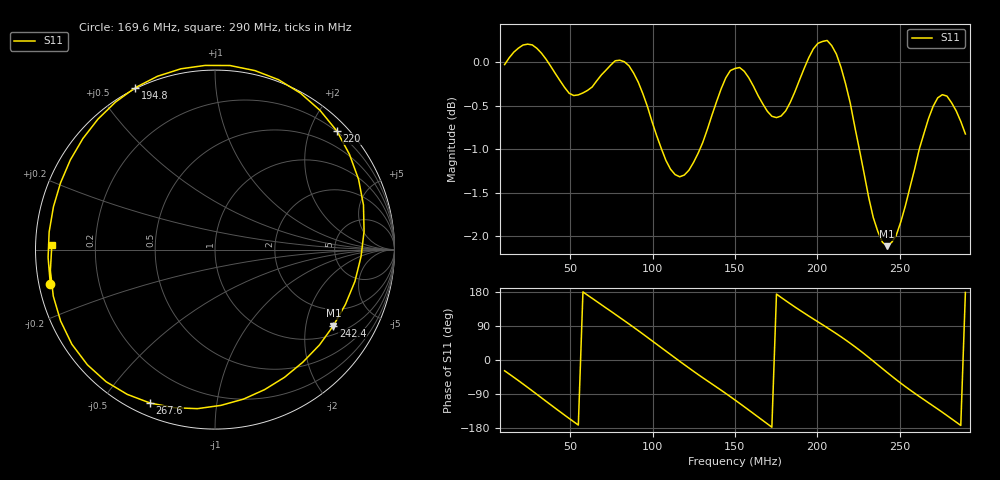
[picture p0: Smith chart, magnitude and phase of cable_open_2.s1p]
! File created by NanoVNA (https://gen111.taobao.com/)
! Start 10000000Hz  Stop 290000000Hz  Points 101
# HZ S MA R 50
!S - Parameter data, F S11
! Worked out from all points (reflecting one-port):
!   101 points, 10 MHz to 290 MHz, reference 50 ohm
!   lowest |S11| = -2.1 dB at 242.4 MHz (marker M1), VSWR 8.26, Z = 65.4 - j144 ohm
!   phase of S11 starts at -28 deg and turns -873 deg over the sweep
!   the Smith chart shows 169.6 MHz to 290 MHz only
!   S11 on the Smith chart (normalised r, x): 169.6 MHz: 0.03, -0.10; 194.8 MHz: -0.00, +0.62; 220 MHz: 0.19, +2.45; 242.4 MHz: 1.31, -2.87; 267.6 MHz: 0.05, -0.66; 290 MHz: 0.05, +0.01
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1e7  0.9966 -28.4
2.12e7  1.023 -63.3
2.96e7  1.018 -90.6
3.8e7  0.9946 -118.1
4.64e7  0.9672 -145.3
5.48e7  0.9576 -171.6
6.32e7  0.9676 162.8
7.16e7  0.9893 137.4
8e7  1.002 112.1
8.56e7  0.995 95.0
9.4e7  0.9591 68.6
1.052e8  0.8922 32.6
1.164e8  0.8594 -3.4
1.248e8  0.8758 -29.7
1.36e8  0.9323 -63.2
1.5e8  0.9915 -105.6
1.612e8  0.9686 -141.2
1.696e8  0.9372 -168.3
1.864e8  0.9616 139.9
1.948e8  1.006 116.1
2.06e8  1.029 85.4
2.2e8  0.9475 44.2
2.312e8  0.8366 6.9
2.424e8  0.7841 -32.7
2.564e8  0.848 -79.2
2.676e8  0.9282 -113.0
2.788e8  0.956 -146.5
2.9e8  0.9094 178.3
